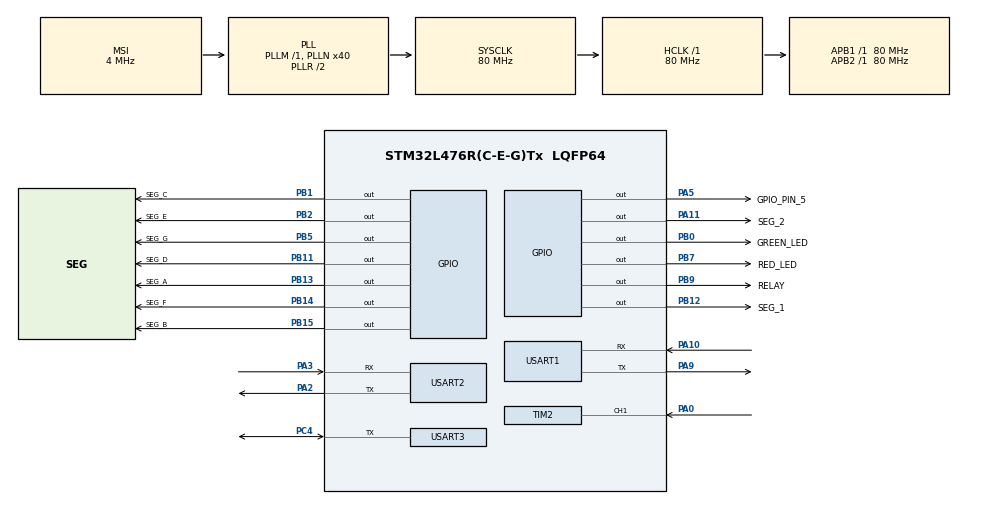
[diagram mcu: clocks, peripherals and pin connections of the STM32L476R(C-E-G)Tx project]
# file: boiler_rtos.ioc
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FREERTOS.BinarySemaphores01=irSemaphore,Dynamic,NULL,Available
FREERTOS.Tasks01=defaultTask,24,128,StartDefaultTask,Default,NULL,Dynamic,NULL,NULL;temp_Task,32,512,Start_temp_Task,Default,NULL,Dynamic,NULL,NULL;uartTask,8,256,Start_uart_Task,Default,NULL,Dynamic,NULL,NULL;irTask,32,512,Start_ir_Task,Default,NULL,Dynamic,NULL,NULL;ControlTask,40,512,Start_Control_Task,Default,NULL,Dynamic,NULL,NULL
FREERTOS.configTOTAL_HEAP_SIZE=12288
FREERTOS.configUSE_NEWLIB_REENTRANT=1
IWDG.Prescaler=IWDG_PRESCALER_32
Mcu.Family=STM32L4
Mcu.Name=STM32L476R(C-E-G)Tx
Mcu.Package=LQFP64
NVIC.PriorityGroup=NVIC_PRIORITYGROUP_4
NVIC.TIM2_IRQn=true\:5\:0\:false\:false\:true\:true\:true\:true\:true
NVIC.TIM6_DAC_IRQn=true\:15\:0\:false\:false\:true\:false\:false\:true\:true
NVIC.TIM7_IRQn=true\:10\:0\:true\:false\:true\:true\:true\:true\:true
NVIC.TimeBase=TIM6_DAC_IRQn
NVIC.TimeBaseIP=TIM6
PA0.Signal=S_TIM2_CH1
PA10.Mode=Asynchronous
PA10.Signal=USART1_RX
PA11.GPIO_Label=SEG_2
PA11.GPIO_ModeDefaultOutputPP=GPIO_MODE_OUTPUT_OD
PA11.GPIO_PuPd=GPIO_NOPULL
PA11.PinState=GPIO_PIN_SET
PA11.Signal=GPIO_Output
PA13\ (JTMS-SWDIO).Mode=Serial_Wire
PA13\ (JTMS-SWDIO).Signal=SYS_JTMS-SWDIO
PA14\ (JTCK-SWCLK).Mode=Serial_Wire
PA14\ (JTCK-SWCLK).Signal=SYS_JTCK-SWCLK
PA2.Mode=Asynchronous
PA2.Signal=USART2_TX
PA3.Mode=Asynchronous
PA3.Signal=USART2_RX
PA5.GPIO_Label=GPIO_PIN_5
PA5.Signal=GPIO_Output
PA9.Mode=Asynchronous
PA9.Signal=USART1_TX
PB0.GPIO_Label=GREEN_LED
PB0.Signal=GPIO_Output
PB1.GPIO_Label=SEG_C
PB1.Signal=GPIO_Output
PB11.GPIO_Label=SEG_D
PB11.PinState=GPIO_PIN_RESET
PB11.Signal=GPIO_Output
PB12.GPIO_Label=SEG_1
PB12.GPIO_ModeDefaultOutputPP=GPIO_MODE_OUTPUT_OD
PB12.GPIO_PuPd=GPIO_NOPULL
PB12.PinState=GPIO_PIN_SET
PB12.Signal=GPIO_Output
PB13.GPIO_Label=SEG_A
PB13.Signal=GPIO_Output
PB14.GPIO_Label=SEG_F
PB14.Signal=GPIO_Output
PB15.GPIO_Label=SEG_B
PB15.Signal=GPIO_Output
PB2.GPIO_Label=SEG_E
PB2.Signal=GPIO_Output
PB5.GPIO_Label=SEG_G
PB5.Signal=GPIO_Output
PB7.GPIO_Label=RED_LED
PB7.Signal=GPIO_Output
PB9.GPIO_Label=RELAY
PB9.Signal=GPIO_Output
PC4.Mode=Half_duplex(single_wire_mode)
PC4.Signal=USART3_TX
ProjectManager.HeapSize=0x200
ProjectManager.StackSize=0x400
ProjectManager.TargetToolchain=STM32CubeIDE
RCC.AHBFreq_Value=80000000
RCC.APB1Freq_Value=80000000
RCC.APB1TimFreq_Value=80000000
RCC.APB2Freq_Value=80000000
RCC.APB2TimFreq_Value=80000000
RCC.CortexFreq_Value=80000000
RCC.HCLKFreq_Value=80000000
RCC.HSE_VALUE=8000000
RCC.HSI_VALUE=16000000
RCC.LSE_VALUE=32768
RCC.MSI_VALUE=4000000
RCC.PLLN=40
RCC.SYSCLKFreq_VALUE=80000000
RCC.SYSCLKSource=RCC_SYSCLKSOURCE_PLLCLK
RCC.VCOOutputFreq_Value=160000000
SH.S_TIM2_CH1.0=TIM2_CH1,TriggerSource_TI1ED
SH.S_TIM2_CH1.1=TIM2_CH1,Input_Capture1_from_TI1
TIM2.Channel-Input_Capture1_from_TI1=TIM_CHANNEL_1
TIM2.ICPolarity_CH1=TIM_INPUTCHANNELPOLARITY_FALLING
TIM2.Prescaler=79
TIM7.Period=1999
TIM7.Prescaler=99
USART1.VirtualMode-Asynchronous=VM_ASYNC
USART2.VirtualMode-Asynchronous=VM_ASYNC
USART3.BaudRate=9600
USART3.OverrunDisableParam=ADVFEATURE_OVERRUN_DISABLE
USART3.VirtualMode-Half_duplex(single_wire_mode)=VM_ASYNC
VP_FREERTOS_VS_CMSIS_V2.Mode=CMSIS_V2
VP_IWDG_VS_IWDG.Mode=IWDG_Activate
VP_SYS_VS_tim6.Mode=TIM6
VP_TIM2_VS_ClockSourceINT.Mode=Internal
VP_TIM2_VS_ControllerModeReset.Mode=Reset Mode
VP_TIM7_VS_ClockSourceINT.Mode=Enable_Timer
board=custom

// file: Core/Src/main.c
/* USER CODE BEGIN Header */
/**
  ******************************************************************************
  * @file           : main.c
  * @brief          : Main program body
  ******************************************************************************
  * @attention
  *
  * Copyright (c) 2026 STMicroelectronics.
  * All rights reserved.
  *
  * This software is licensed under terms that can be found in the LICENSE file
  * in the root directory of this software component.
  * If no LICENSE file comes with this software, it is provided AS-IS.
  *
  ******************************************************************************
  */
/* USER CODE END Header */
#include "main.h"
#include "cmsis_os.h"
#include "iwdg.h"
#include "tim.h"
#include "usart.h"
#include "gpio.h"

/* USER CODE BEGIN Includes */
#include "ir.h"
#include "seg7.h"
extern osSemaphoreId_t irSemaphoreHandle;

/* USER CODE END Includes */

void SystemClock_Config(void);
void MX_FREERTOS_Init(void);

int main(void)
{

  /* MCU Configuration--------------------------------------------------------*/

  /* Reset of all peripherals, Initializes the Flash interface and the Systick. */
  HAL_Init();

  /* Configure the system clock */
  SystemClock_Config();

  /* Initialize all configured peripherals */
  MX_GPIO_Init();
  MX_USART2_UART_Init();
  MX_USART3_UART_Init();
  MX_USART1_UART_Init();
  MX_TIM7_Init();
  HAL_TIM_Base_Start_IT(&htim7);
  MX_TIM2_Init();
  MX_IWDG_Init();

  /* Init scheduler */
  osKernelInitialize();  /* Call init function for freertos objects (in cmsis_os2.c) */
  MX_FREERTOS_Init();

  /* Start scheduler */
  osKernelStart();

  /* We should never get here as control is now taken by the scheduler */

  /* Infinite loop */
  while (1)
  {

  }
}

void SystemClock_Config(void)
{
  RCC_OscInitTypeDef RCC_OscInitStruct = {0};
  RCC_ClkInitTypeDef RCC_ClkInitStruct = {0};

  /** Configure the main internal regulator output voltage
  */
  if (HAL_PWREx_ControlVoltageScaling(PWR_REGULATOR_VOLTAGE_SCALE1) != HAL_OK)
  {
    Error_Handler();
  }

  /** Initializes the RCC Oscillators according to the specified parameters
  * in the RCC_OscInitTypeDef structure.
  */
  RCC_OscInitStruct.OscillatorType = RCC_OSCILLATORTYPE_LSI|RCC_OSCILLATORTYPE_MSI;
  RCC_OscInitStruct.LSIState = RCC_LSI_ON;
  RCC_OscInitStruct.MSIState = RCC_MSI_ON;
  RCC_OscInitStruct.MSICalibrationValue = 0;
  RCC_OscInitStruct.MSIClockRange = RCC_MSIRANGE_6;
  RCC_OscInitStruct.PLL.PLLState = RCC_PLL_ON;
  RCC_OscInitStruct.PLL.PLLSource = RCC_PLLSOURCE_MSI;
  RCC_OscInitStruct.PLL.PLLM = 1;
  RCC_OscInitStruct.PLL.PLLN = 40;
  RCC_OscInitStruct.PLL.PLLP = RCC_PLLP_DIV7;
  RCC_OscInitStruct.PLL.PLLQ = RCC_PLLQ_DIV2;
  RCC_OscInitStruct.PLL.PLLR = RCC_PLLR_DIV2;
  if (HAL_RCC_OscConfig(&RCC_OscInitStruct) != HAL_OK)
  {
    Error_Handler();
  }

  /** Initializes the CPU, AHB and APB buses clocks
  */
  RCC_ClkInitStruct.ClockType = RCC_CLOCKTYPE_HCLK|RCC_CLOCKTYPE_SYSCLK
                              |RCC_CLOCKTYPE_PCLK1|RCC_CLOCKTYPE_PCLK2;
  RCC_ClkInitStruct.SYSCLKSource = RCC_SYSCLKSOURCE_PLLCLK;
  RCC_ClkInitStruct.AHBCLKDivider = RCC_SYSCLK_DIV1;
  RCC_ClkInitStruct.APB1CLKDivider = RCC_HCLK_DIV1;
  RCC_ClkInitStruct.APB2CLKDivider = RCC_HCLK_DIV1;

  if (HAL_RCC_ClockConfig(&RCC_ClkInitStruct, FLASH_LATENCY_4) != HAL_OK)
  {
    Error_Handler();
  }
}

/* USER CODE BEGIN 4 */

// IR input capture ISR: decodes signal
void HAL_TIM_IC_CaptureCallback(TIM_HandleTypeDef *htim)
{
    if (htim == &htim2)
    {
        if (HAL_TIM_GetActiveChannel(htim) == HAL_TIM_ACTIVE_CHANNEL_1)
        {
            ir_tim_interrupt();

            if (ir_get_received_bits() == 32)
            {
                if (frame_ready == 0)
                {
                    frame_ready = 1;
                    osSemaphoreRelease(irSemaphoreHandle);
                }
            }
        }
    }
	}

/* USER CODE END 4 */

void HAL_TIM_PeriodElapsedCallback(TIM_HandleTypeDef *htim)
{
  /* USER CODE BEGIN Callback 0 */
    if (htim->Instance == TIM6)
    {
        HAL_IncTick();
    }
    if (htim->Instance == TIM7)
    {
        seg7_update();
    }
  /* USER CODE END Callback 0 */

}

void Error_Handler(void)
{
  __disable_irq();
  while (1)
  {
  }
}

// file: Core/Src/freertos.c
/* USER CODE BEGIN Header */
/**
  ******************************************************************************
  * File Name          : freertos.c
  * Description        : Code for freertos applications
  ******************************************************************************
  * @attention
  *
  * Copyright (c) 2026 STMicroelectronics.
  * All rights reserved.
  *
  * This software is licensed under terms that can be found in the LICENSE file
  * in the root directory of this software component.
  * If no LICENSE file comes with this software, it is provided AS-IS.
  *
  ******************************************************************************
  */
/* USER CODE END Header */

#include "FreeRTOS.h"
#include "task.h"
#include "main.h"
#include "cmsis_os.h"
#include "iwdg.h"

/* USER CODE BEGIN Includes */
#include "queue.h"
#include "ds18b20.h"
#include "wire.h"
#include "ir.h"
#include "usart.h"
#include "seg7.h"
#include <stdio.h>
#include "system_state.h"
#include "ir_messages.h"
#include "system_monitor.h"

/* USER CODE END Includes */

/* USER CODE BEGIN PD */
#define TEMP_MIN 20
#define TEMP_MAX 70
#define TEMP_HYST 0.5
#define ONOFF_DEBOUNCE_MS 400

/* USER CODE END PD */

/* USER CODE BEGIN Variables */
QueueHandle_t uartQueue;
QueueHandle_t stateQueue;
QueueHandle_t tempQueue;
QueueHandle_t irQueue;

/* USER CODE END Variables */
/* Definitions for WatchdogTask */
osThreadId_t WatchdogTaskHandle;
const osThreadAttr_t WatchdogTask_attributes = {
  .name = "WatchdogTask",
  .stack_size = 128 * 4,
  .priority = (osPriority_t) osPriorityNormal,
};
/* Definitions for temp_Task */
osThreadId_t temp_TaskHandle;
const osThreadAttr_t temp_Task_attributes = {
  .name = "temp_Task",
  .stack_size = 512 * 4,
  .priority = (osPriority_t) osPriorityAboveNormal,
};
/* Definitions for uartTask */
osThreadId_t uartTaskHandle;
const osThreadAttr_t uartTask_attributes = {
  .name = "uartTask",
  .stack_size = 256 * 4,
  .priority = (osPriority_t) osPriorityLow,
};
/* Definitions for irTask */
osThreadId_t irTaskHandle;
const osThreadAttr_t irTask_attributes = {
  .name = "irTask",
  .stack_size = 512 * 4,
  .priority = (osPriority_t) osPriorityAboveNormal,
};
/* Definitions for ControlTask */
osThreadId_t ControlTaskHandle;
const osThreadAttr_t ControlTask_attributes = {
  .name = "ControlTask",
  .stack_size = 512 * 4,
  .priority = (osPriority_t) osPriorityHigh,
};
/* Definitions for irSemaphore */
osSemaphoreId_t irSemaphoreHandle;
const osSemaphoreAttr_t irSemaphore_attributes = {
  .name = "irSemaphore"
};

void StartWatchdogTask(void *argument);
void Start_temp_Task(void *argument);
void Start_uart_Task(void *argument);
void Start_ir_Task(void *argument);
void Start_Control_Task(void *argument);

void MX_FREERTOS_Init(void); /* (MISRA C 2004 rule 8.1) */

void MX_FREERTOS_Init(void) {

  /* Create the semaphores(s) */
  /* creation of irSemaphore */
  irSemaphoreHandle = osSemaphoreNew(1, 1, &irSemaphore_attributes);

  /* USER CODE BEGIN RTOS_QUEUES */
  /* add queues, ... */
  uartQueue = xQueueCreate(8, sizeof(char[64]));
  stateQueue = xQueueCreate(1, sizeof(SystemState_t));
  tempQueue = xQueueCreate(1, sizeof(float));
  irQueue = xQueueCreate(8, sizeof(IrMessage));
  /* USER CODE END RTOS_QUEUES */

  /* Create the thread(s) */
  /* creation of WatchdogTask */
  WatchdogTaskHandle = osThreadNew(StartWatchdogTask, NULL, &WatchdogTask_attributes);

  /* creation of temp_Task */
  temp_TaskHandle = osThreadNew(Start_temp_Task, NULL, &temp_Task_attributes);

  /* creation of uartTask */
  uartTaskHandle = osThreadNew(Start_uart_Task, NULL, &uartTask_attributes);

  /* creation of irTask */
  irTaskHandle = osThreadNew(Start_ir_Task, NULL, &irTask_attributes);

  /* creation of ControlTask */
  ControlTaskHandle = osThreadNew(Start_Control_Task, NULL, &ControlTask_attributes);

}

void StartWatchdogTask(void *argument)
{
  /* USER CODE BEGIN StartWatchdogTask */

  /* Infinite loop */

    //watch dog
	    for (;;)
	    {

	        HAL_IWDG_Refresh(&hiwdg);

	        osDelay(500);
  }
  /* USER CODE END StartWatchdogTask */
}

void Start_temp_Task(void *argument)
{
  /* USER CODE BEGIN Start_temp_Task */
	    uint8_t ds1[DS18B20_ROM_CODE_SIZE];

	    // Read DS18B20 ROM code
	    if (ds18b20_read_address(ds1) != HAL_OK) {
	        Error_Handler();
	    }
	    float temp;
	    // Reads temperature from DS18B20 sensor and updates system queue
	    for(;;)
	    {
	        // Start measurement
	        ds18b20_start_measure(NULL);

	        // Wait for conversion
	        osDelay(750);

	        // Get temperature
	        temp = ds18b20_get_temp(NULL);
	        xQueueOverwrite(tempQueue, &temp);
	        osDelay(1000);

	        }

  /* USER CODE END Start_temp_Task */
}

void Start_uart_Task(void *argument)
{
  /* USER CODE BEGIN Start_uart_Task */
  char msg[128];
  SystemState_t state;

  /* Infinite loop */

  for (;;) {
      //sending data to RPI for MQTT publishing
      if (xQueuePeek(stateQueue, &state, 25) == pdPASS) {
    	  int len = snprintf(msg, sizeof(msg),
    	      "{\"temperature\":%.1f,\"heating\":%d,\"set_temperature\":%d,\"boiler_off\":%d,\"boiler_error\":%d}\n",
    	      state.temp,
			  (state.mode == BOILER_HEATING) ? 1 : 0,
    	      state.set_temp,
			  (state.mode == BOILER_OFF) ? 1 : 0,
			  (state.mode == BOILER_ERROR) ? 1: 0

    	  );

    	  if (len > 0 && len < sizeof(msg)) {
    	      HAL_UART_Transmit(&huart1, (uint8_t*)msg, len, 50);
    	  }

/*
  //debugging
          snprintf(msg, sizeof(msg),
        		  "{\"temperature\":%.1f,\"heating\":%d,\"set_temperature\":%d,\"boiler_off\":%d,\"boiler_error\":%d}\n",
        		      	      state.temp,
        		  			  (state.mode == BOILER_HEATING) ? 1 : 0,
        		      	      state.set_temp,
        		  			  (state.mode == BOILER_OFF) ? 1 : 0,
        		  			  (state.mode == BOILER_ERROR) ? 1: 0

        		      	  );
          HAL_UART_Transmit(&huart2, (uint8_t*)msg, strlen(msg), 100);
      }
*/

      osDelay(200);
  }
  }

  /* USER CODE END Start_uart_Task */
}

void Start_ir_Task(void *argument)
{
  /* USER CODE BEGIN Start_ir_Task */

    static uint32_t last_onoff_time = 0;
    ir_init();
  /* Infinite loop */

	   // Task responsible for processing IR remote control commands
	   // and forwarding decoded events to the application queue.
	   for (;;) {

		    // Wait for IR reception event from ISR
	        if (osSemaphoreAcquire(irSemaphoreHandle, osWaitForever) == osOK) {

	            int value = ir_read();
	            IrMessage msg;

	            if (value >= 0) {
	                switch (value) {
                    // Increase  temperature by 1°C
	                    case IR_CODE_PLUS:
	                        msg.type = IR_EVENT_TEMP_CHANGE;
	                        msg.delta = 1;
	                        xQueueSend(irQueue, &msg, 0);
	                        break;

	                    case IR_CODE_MINUS:
	                 // Decrease temperature by 1°C
	                        msg.type = IR_EVENT_TEMP_CHANGE;
	                        msg.delta = -1;
	                        xQueueSend(irQueue, &msg, 0);
	                        break;

	                    case IR_CODE_ONOFF:
	                    {
	                 // ON/OFF control with debouncing
	                        uint32_t now = osKernelGetTickCount();

	                        if ((now - last_onoff_time) > ONOFF_DEBOUNCE_MS)
	                        {

	                            msg.type = IR_EVENT_TOGGLE_POWER;
	                            msg.delta = 0;
	                            xQueueSend(irQueue, &msg, 0);

	                            last_onoff_time = now;
	                        }
	                    }
	                    break;
	                }
	              }
	            }
	        }

  /* USER CODE END Start_ir_Task */
}

void Start_Control_Task(void *argument)
{
  /* USER CODE BEGIN Start_Control_Task */

    SystemState_t state = {
        .set_temp = TEMP_MIN,
        .temp = 0,
	    .mode = BOILER_OFF
    };

    IrMessage msg;
    float temp;
    static uint32_t last_toggle = 0;

  /* Infinite loop */

    // Main boiler control task:
    // processes user commands, updates system state,
    // controls outputs and publishes current status.
    for (;;)
    {
        //  Recive from IR
        if (xQueueReceive(irQueue, &msg, 0) == pdPASS)
        {

            switch (msg.type) {

                case IR_EVENT_TEMP_CHANGE:
                    state.set_temp += msg.delta;
                    break;

                case IR_EVENT_TOGGLE_POWER:
                    if (state.mode == BOILER_OFF)
                    {
                        state.mode = BOILER_IDLE;
                    }
                    else
                    {
                        state.mode = BOILER_OFF;
                    }
                    break;
            }
        }

        //  Recive from temperature sensor
        if (xQueueReceive(tempQueue, &temp, 0) == pdPASS)
        {
            state.temp = temp;
        }

        //  Control relay and temperature sensor fault handler
        // Sensor fault detection
        if (state.temp == 85)
        {
            state.mode = BOILER_ERROR;
        }
        //set temperature clamps

        if (state.set_temp < TEMP_MIN) state.set_temp = TEMP_MIN;
        if (state.set_temp > TEMP_MAX) state.set_temp = TEMP_MAX;
        //state
        switch (state.mode)
        {
            case BOILER_OFF:

                break;

            case BOILER_IDLE:

                if (state.temp <= (state.set_temp - TEMP_HYST))
                {
                    state.mode = BOILER_HEATING;
                }

                break;

            case BOILER_HEATING:

                if (state.temp >= (state.set_temp + TEMP_HYST))
                {
                    state.mode = BOILER_IDLE;
                }

                break;

            case BOILER_ERROR:

                break;
        }

        // Outputs
        switch (state.mode)
        {
            case BOILER_OFF:

                HAL_GPIO_WritePin(RELAY_GPIO_Port, RELAY_Pin, GPIO_PIN_SET);
                HAL_GPIO_WritePin(RED_LED_GPIO_Port, RED_LED_Pin, GPIO_PIN_RESET);
                HAL_GPIO_WritePin(GREEN_LED_GPIO_Port, GREEN_LED_Pin, GPIO_PIN_RESET);

                break;

            case BOILER_IDLE:

                HAL_GPIO_WritePin(RELAY_GPIO_Port, RELAY_Pin, GPIO_PIN_SET);
                HAL_GPIO_WritePin(RED_LED_GPIO_Port, RED_LED_Pin, GPIO_PIN_RESET);
                HAL_GPIO_WritePin(GREEN_LED_GPIO_Port, GREEN_LED_Pin, GPIO_PIN_SET);

                break;

            case BOILER_HEATING:

                HAL_GPIO_WritePin(RELAY_GPIO_Port, RELAY_Pin, GPIO_PIN_RESET);
                HAL_GPIO_WritePin(RED_LED_GPIO_Port, RED_LED_Pin, GPIO_PIN_SET);
                HAL_GPIO_WritePin(GREEN_LED_GPIO_Port, GREEN_LED_Pin, GPIO_PIN_SET);

                break;

            case BOILER_ERROR:

                HAL_GPIO_WritePin(RELAY_GPIO_Port, RELAY_Pin, GPIO_PIN_SET);
                //led blinking to show alarm state
                if (osKernelGetTickCount() - last_toggle >= 200)
                {
                    HAL_GPIO_TogglePin(RED_LED_GPIO_Port, RED_LED_Pin);
                    last_toggle = osKernelGetTickCount();
                }

                HAL_GPIO_WritePin(GREEN_LED_GPIO_Port, GREEN_LED_Pin, GPIO_PIN_SET);

                break;
        }

        // Public state
        xQueueOverwrite(stateQueue, &state);
        seg7_show(state.set_temp);
        osDelay(100);
    }

  /* USER CODE END Start_Control_Task */
}
